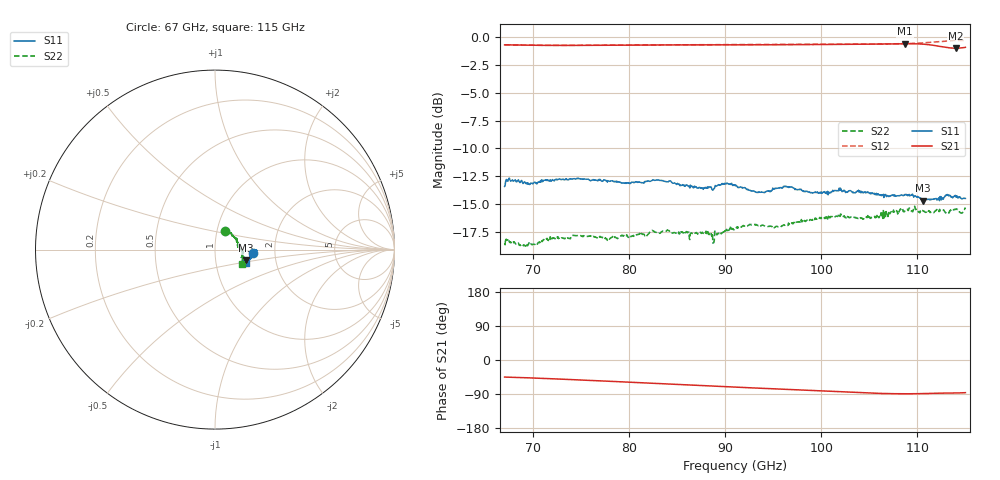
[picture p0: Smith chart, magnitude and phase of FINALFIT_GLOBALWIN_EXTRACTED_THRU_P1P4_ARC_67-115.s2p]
! Generated by Phase I extraction
# Hz S RI R 50
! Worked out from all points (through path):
!   1001 points, 67 GHz to 115 GHz, reference 50 ohm
!   highest |S21| = -0.61 dB at 108.7 GHz (marker M1); lowest = -1.0 dB at 114 GHz (marker M2)
!   group delay of S21, straight-line fit = 2.85 ps
!   lowest |S11| = -14.7 dB at 110.6 GHz (marker M3), VSWR 1.45, Z = 70.4 - j8.81 ohm
!   |S11| at or under -10 dB: start of sweep to end of sweep
!   |S22| runs from -18.8 to -15.2 dB; largest |S21 - S12| = 0.47
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6.7e10  0.2128 -0.0165  0.6518 -0.6524  0.6533 -0.6504  0.0544 0.1051
6.7384e10  0.2284 -0.000555  0.6482 -0.6551  0.6511 -0.6518  0.0512 0.11
6.8968e10  0.2208 -0.00772  0.6317 -0.6678  0.6428 -0.6571  0.0577 0.1001
7.5016e10  0.2303 -0.00565  0.5541 -0.7305  0.6165 -0.6799  0.0895 0.0912
7.78e10  0.2259 -0.0114  0.5135 -0.7614  0.6052 -0.6923  0.0974 0.0764
8.3032e10  0.2275 -0.0184  0.4268 -0.816  0.585 -0.7121  0.1162 0.0617
8.7928e10  0.2088 -0.0249  0.3431 -0.8547  0.561 -0.7325  0.1272 0.0361
8.86e10  0.2057 -0.0233  0.3319 -0.8592  0.5578 -0.7352  0.1254 0.0217
8.9896e10  0.217 -0.0238  0.3103 -0.8675  0.5518 -0.7403  0.128 0.0304
9.1e10  0.2151 -0.0274  0.2915 -0.8742  0.547 -0.7443  0.1338 0.0296
9.34e10  0.1979 -0.0314  0.2503 -0.8875  0.5368 -0.7527  0.1409 0.02
9.628e10  0.2101 -0.0353  0.2012 -0.9017  0.5244 -0.7629  0.1427 0.00756
9.9016e10  0.1965 -0.0376  0.1522 -0.9125  0.5126 -0.7719  0.1509 -0.00743
1.01848e11  0.206 -0.0376  0.0997 -0.9207  0.5003 -0.7804  0.16 -0.0165
1.04344e11  0.1933 -0.0526  0.0553 -0.9267  0.4877 -0.7896  0.1499 -0.0249
1.07032e11  0.1843 -0.0541  0.0211 -0.9312  0.4696 -0.8036  0.1549 -0.0463
1.08712e11  0.1881 -0.0543  0.0137 -0.9322  0.4554 -0.8153  0.1592 -0.0505
1.10584e11  0.1738 -0.0605  0.0239 -0.9284  0.4316 -0.8362  0.1547 -0.0594
1.1308e11  0.1818 -0.071  0.0407 -0.8956  0.3984 -0.8734  0.1509 -0.0623
1.13992e11  0.1753 -0.0791  0.0445 -0.8896  0.3835 -0.8848  0.1528 -0.0706
1.1452e11  0.1729 -0.0774  0.0507 -0.8914  0.37 -0.8908  0.1451 -0.0722
1.15e11  0.1724 -0.0761  0.0592 -0.8967  0.3544 -0.8955  0.1482 -0.0814
